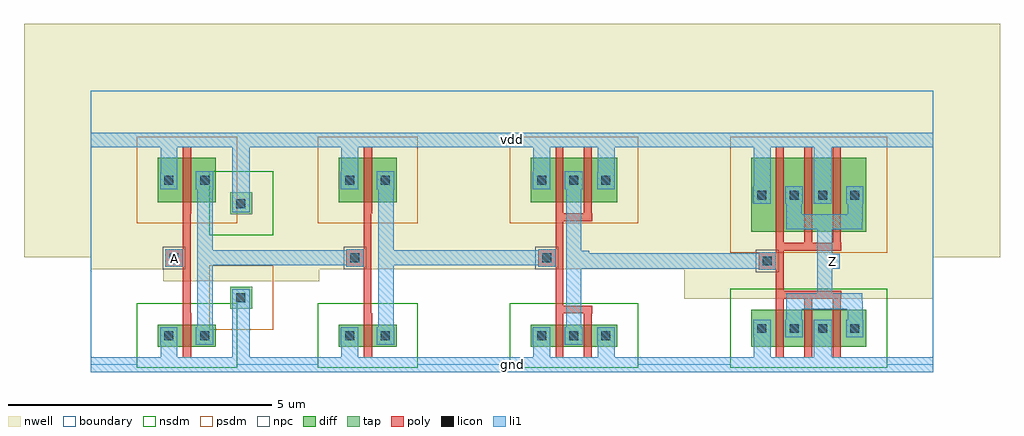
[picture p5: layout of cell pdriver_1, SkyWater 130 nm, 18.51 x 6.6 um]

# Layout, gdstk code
import gdstk
lib = gdstk.Library(unit=1e-6, precision=1e-09)
def R(c, l, rs):  # rectangles x0, y0, x1, y1
    for r in rs: c.add(gdstk.rectangle(r[:2], r[2:], *l))
def A(c, l, x, y, w, h, nx, ny, dx, dy):  # array of equal rectangles
    R(c, l, [(x+i*dx, y+j*dy, x+i*dx+w, y+j*dy+h) for i in range(nx) for j in range(ny)])
nwell = (64, 20)
diff = (65, 20)
tap = (65, 44)
poly = (66, 20)
licon = (66, 44)
li1 = (67, 20)
nsdm = (93, 44)
psdm = (94, 20)
npc = (95, 20)
boundary = (235, 4)

contact_10 = lib.new_cell('contact_10')
R(contact_10, nwell, [(-1.27,-1.27,1.69,1.69)])
R(contact_10, diff, [(0,0,0.42,0.42)])
R(contact_10, licon, [(0.12,0.12,0.29,0.29)])
R(contact_10, li1, [(0.04,0.04,0.37,0.37)])
R(contact_10, psdm, [(-0.4,-0.4,0.82,0.82)])
R(contact_10, boundary, [(-1.27,-1.27,1.69,1.69)])

pmos_m1_w0_840_sli_dli_d = lib.new_cell('pmos_m1_w0_840_sli_dli_da_p')
R(pmos_m1_w0_840_sli_dli_d, nwell, [(-1.27,-1.27,2.37,2.11)])
R(pmos_m1_w0_840_sli_dli_d, diff, [(0,0,1.1,0.84)])
R(pmos_m1_w0_840_sli_dli_d, poly, [(0.47,-0.21,0.62,1.05), (0.47,-0.21,0.63,1.05)])
R(pmos_m1_w0_840_sli_dli_d, li1, [(0.05,0.25,0.37,0.59), (0.73,0.25,1.05,0.59)])
R(pmos_m1_w0_840_sli_dli_d, psdm, [(-0.4,-0.4,1.5,1.24)])
R(pmos_m1_w0_840_sli_dli_d, boundary, [(-1.27,-1.27,2.37,2.11)])
pmos_m1_w0_840_sli_dli_d.add(gdstk.Reference(contact_10, (0,0.21)))
pmos_m1_w0_840_sli_dli_d.add(gdstk.Reference(contact_10, (0.68,0.21)))
pmos_m1_w0_840_sli_dli_d.add(gdstk.Label('G', (0.55,0.42), layer=66, texttype=20))
pmos_m1_w0_840_sli_dli_d.add(gdstk.Label('S', (0.21,0.42), layer=67, texttype=20))
pmos_m1_w0_840_sli_dli_d.add(gdstk.Label('D', (0.89,0.42), layer=67, texttype=20))

contact_9 = lib.new_cell('contact_9')
R(contact_9, diff, [(0,0,0.42,0.42)])
R(contact_9, licon, [(0.12,0.12,0.29,0.29)])
R(contact_9, li1, [(0.04,0.04,0.37,0.37)])
R(contact_9, nsdm, [(-0.4,-0.4,0.82,0.82)])
R(contact_9, boundary, [(-0.4,-0.4,0.82,0.82)])

nmos_m1_w0_420_sli_dli_d = lib.new_cell('nmos_m1_w0_420_sli_dli_da_p')
R(nmos_m1_w0_420_sli_dli_d, diff, [(0,0,1.1,0.42)])
R(nmos_m1_w0_420_sli_dli_d, poly, [(0.47,-0.21,0.62,0.63), (0.47,-0.21,0.63,0.63)])
R(nmos_m1_w0_420_sli_dli_d, li1, [(0.05,0.05,0.37,0.37), (0.73,0.05,1.05,0.37)])
R(nmos_m1_w0_420_sli_dli_d, nsdm, [(-0.4,-0.4,1.5,0.82)])
R(nmos_m1_w0_420_sli_dli_d, boundary, [(-0.4,-0.4,1.5,0.82)])
nmos_m1_w0_420_sli_dli_d.add(gdstk.Reference(contact_9, (0,0)))
nmos_m1_w0_420_sli_dli_d.add(gdstk.Reference(contact_9, (0.68,0)))
nmos_m1_w0_420_sli_dli_d.add(gdstk.Label('G', (0.55,0.21), layer=66, texttype=20))
nmos_m1_w0_420_sli_dli_d.add(gdstk.Label('S', (0.21,0.21), layer=67, texttype=20))
nmos_m1_w0_420_sli_dli_d.add(gdstk.Label('D', (0.89,0.21), layer=67, texttype=20))

contact_11 = lib.new_cell('contact_11')
R(contact_11, nwell, [(-1.27,-1.27,1.69,1.69)])
R(contact_11, tap, [(0,0,0.42,0.42)])
R(contact_11, licon, [(0.12,0.12,0.29,0.29)])
R(contact_11, li1, [(0.04,0.04,0.37,0.37)])
R(contact_11, nsdm, [(-0.4,-0.4,0.82,0.82)])
R(contact_11, boundary, [(-1.27,-1.27,1.69,1.69)])

contact_12 = lib.new_cell('contact_12')
R(contact_12, tap, [(0,0,0.42,0.42)])
R(contact_12, licon, [(0.12,0.12,0.29,0.29)])
R(contact_12, li1, [(0.04,0.04,0.37,0.37)])
R(contact_12, psdm, [(-0.4,-0.4,0.82,0.82)])
R(contact_12, boundary, [(-0.4,-0.4,0.82,0.82)])

contact_13 = lib.new_cell('contact_13')
R(contact_13, poly, [(0,0,0.33,0.33)])
R(contact_13, licon, [(0.08,0.08,0.25,0.25)])
R(contact_13, li1, [(0,0,0.33,0.33)])
R(contact_13, npc, [(-0.05,-0.05,0.38,0.38)])
R(contact_13, boundary, [(-0.05,-0.05,0.38,0.38)])

pinv_5 = lib.new_cell('pinv_5')
R(pinv_5, nwell, [(-1.27,2.04,4.7,6.46)])
R(pinv_5, poly, [(1.74,0.97,1.89,2.87), (1.58,1.86,1.74,2.19)])
R(pinv_5, li1, [(0,-0.14,3.43,0.14), (1.32,-0.14,1.64,0.39), (2.68,0,3.01,1.27), (2.02,0.39,2.31,3.67), (1.41,1.86,1.74,2.18), (2.16,1.88,2.45,2.16), (2.68,3.06,3.01,4.26), (1.32,3.33,1.64,4.4), (0,4.12,3.43,4.4)])
R(pinv_5, boundary, [(0,0,3.43,4.26), (0,0,3.43,4.26)])
pinv_5.add(gdstk.Reference(pmos_m1_w0_840_sli_dli_d, (1.27,3.08)))
pinv_5.add(gdstk.Reference(nmos_m1_w0_420_sli_dli_d, (1.27,0.34)))
pinv_5.add(gdstk.Reference(contact_11, (2.64,2.85)))
pinv_5.add(gdstk.Reference(contact_12, (2.64,1.06)))
pinv_5.add(gdstk.Reference(contact_13, (1.41,1.86)))
pinv_5.add(gdstk.Label('A', (1.575,2.02), layer=67, texttype=20))
pinv_5.add(gdstk.Label('Z', (2.305,2.02), layer=67, texttype=20))
pinv_5.add(gdstk.Label('gnd', (1.715,0), layer=67, texttype=20))
pinv_5.add(gdstk.Label('vdd', (1.715,4.26), layer=67, texttype=20))

pinv_8 = lib.new_cell('pinv_8')
R(pinv_8, nwell, [(-1.27,2.04,4.91,6.46)])
R(pinv_8, poly, [(1.74,0.97,1.89,2.87), (1.58,1.86,1.74,2.19)])
R(pinv_8, li1, [(0,-0.14,3.64,0.14), (1.32,-0.14,1.64,0.39), (2.02,0.39,2.31,3.67), (1.41,1.86,1.74,2.18), (2.16,1.88,2.45,2.16), (1.32,3.33,1.64,4.4), (0,4.12,3.64,4.4)])
R(pinv_8, boundary, [(0,0,3.64,4.26), (0,0,3.64,4.26)])
pinv_8.add(gdstk.Reference(pmos_m1_w0_840_sli_dli_d, (1.27,3.08)))
pinv_8.add(gdstk.Reference(nmos_m1_w0_420_sli_dli_d, (1.27,0.34)))
pinv_8.add(gdstk.Reference(contact_13, (1.41,1.86)))
pinv_8.add(gdstk.Label('A', (1.575,2.02), layer=67, texttype=20))
pinv_8.add(gdstk.Label('Z', (2.305,2.02), layer=67, texttype=20))
pinv_8.add(gdstk.Label('gnd', (1.82,0), layer=67, texttype=20))
pinv_8.add(gdstk.Label('vdd', (1.82,4.26), layer=67, texttype=20))

pmos_m2_w0_840_sli_dli_d = lib.new_cell('pmos_m2_w0_840_sli_dli_da_p')
R(pmos_m2_w0_840_sli_dli_d, nwell, [(-1.27,-1.27,2.91,2.11)])
R(pmos_m2_w0_840_sli_dli_d, diff, [(0,0,1.64,0.84)])
R(pmos_m2_w0_840_sli_dli_d, poly, [(0.47,-0.36,1.17,-0.21), (0.47,-0.21,0.62,1.05), (1.01,-0.21,1.16,1.05)])
R(pmos_m2_w0_840_sli_dli_d, li1, [(0.05,0.25,0.37,0.59), (0.65,0.25,0.99,0.59), (1.27,0.25,1.59,0.59)])
R(pmos_m2_w0_840_sli_dli_d, psdm, [(-0.4,-0.4,2.04,1.24)])
R(pmos_m2_w0_840_sli_dli_d, boundary, [(-1.27,-1.27,2.91,2.11)])
pmos_m2_w0_840_sli_dli_d.add(gdstk.Reference(contact_10, (0,0.21)))
pmos_m2_w0_840_sli_dli_d.add(gdstk.Reference(contact_10, (0.61,0.21)))
pmos_m2_w0_840_sli_dli_d.add(gdstk.Reference(contact_10, (1.22,0.21)))
pmos_m2_w0_840_sli_dli_d.add(gdstk.Label('G', (0.82,-0.285), layer=66, texttype=20))
pmos_m2_w0_840_sli_dli_d.add(gdstk.Label('S', (0.21,0.42), layer=67, texttype=20))
pmos_m2_w0_840_sli_dli_d.add(gdstk.Label('S', (1.43,0.42), layer=67, texttype=20))
pmos_m2_w0_840_sli_dli_d.add(gdstk.Label('D', (0.82,0.42), layer=67, texttype=20))

nmos_m2_w0_420_sli_dli_d = lib.new_cell('nmos_m2_w0_420_sli_dli_da_p')
R(nmos_m2_w0_420_sli_dli_d, diff, [(0,0,1.64,0.42)])
R(nmos_m2_w0_420_sli_dli_d, poly, [(0.47,-0.21,0.62,0.63), (1.01,-0.21,1.16,0.63), (0.47,0.63,1.17,0.78)])
R(nmos_m2_w0_420_sli_dli_d, li1, [(0.05,0.05,0.37,0.37), (0.65,0.05,0.99,0.37), (1.27,0.05,1.59,0.37)])
R(nmos_m2_w0_420_sli_dli_d, nsdm, [(-0.4,-0.4,2.04,0.82)])
R(nmos_m2_w0_420_sli_dli_d, boundary, [(-0.4,-0.4,2.04,0.82)])
nmos_m2_w0_420_sli_dli_d.add(gdstk.Reference(contact_9, (0,0)))
nmos_m2_w0_420_sli_dli_d.add(gdstk.Reference(contact_9, (0.61,0)))
nmos_m2_w0_420_sli_dli_d.add(gdstk.Reference(contact_9, (1.22,0)))
nmos_m2_w0_420_sli_dli_d.add(gdstk.Label('G', (0.82,0.705), layer=66, texttype=20))
nmos_m2_w0_420_sli_dli_d.add(gdstk.Label('S', (1.43,0.21), layer=67, texttype=20))
nmos_m2_w0_420_sli_dli_d.add(gdstk.Label('S', (0.21,0.21), layer=67, texttype=20))
nmos_m2_w0_420_sli_dli_d.add(gdstk.Label('D', (0.82,0.21), layer=67, texttype=20))

pinv_4 = lib.new_cell('pinv_4')
R(pinv_4, nwell, [(-1.27,2.04,5.45,6.46)])
R(pinv_4, poly, [(1.74,1.12,1.89,2.72), (1.58,1.86,1.74,2.19)])
R(pinv_4, li1, [(0,-0.14,4.18,0.14), (1.32,-0.14,1.64,0.39), (2.54,-0.14,2.86,0.39), (1.94,0.39,2.23,3.67), (1.41,1.86,1.74,2.18), (2.09,1.88,2.38,2.16), (1.32,3.33,1.64,4.4), (2.54,3.33,2.86,4.4), (0,4.12,4.18,4.4)])
R(pinv_4, boundary, [(0,0,4.18,4.26), (0,0,4.18,4.26)])
pinv_4.add(gdstk.Reference(pmos_m2_w0_840_sli_dli_d, (1.27,3.08)))
pinv_4.add(gdstk.Reference(nmos_m2_w0_420_sli_dli_d, (1.27,0.34)))
pinv_4.add(gdstk.Reference(contact_13, (1.41,1.86)))
pinv_4.add(gdstk.Label('A', (1.575,2.02), layer=67, texttype=20))
pinv_4.add(gdstk.Label('Z', (2.235,2.02), layer=67, texttype=20))
pinv_4.add(gdstk.Label('gnd', (2.09,0), layer=67, texttype=20))
pinv_4.add(gdstk.Label('vdd', (2.09,4.26), layer=67, texttype=20))

pmos_m3_w1_400_sli_dli_d = lib.new_cell('pmos_m3_w1_400_sli_dli_da_p')
R(pmos_m3_w1_400_sli_dli_d, nwell, [(-1.27,-1.27,3.45,2.67)])
R(pmos_m3_w1_400_sli_dli_d, diff, [(0,0,2.18,1.4)])
A(pmos_m3_w1_400_sli_dli_d, poly, 0.47, -0.21, 0.15, 1.82, 3, 1, 0.54, 0)
R(pmos_m3_w1_400_sli_dli_d, poly, [(0.47,-0.36,1.71,-0.21)])
R(pmos_m3_w1_400_sli_dli_d, li1, [(0.67,0.05,2.11,0.33), (0.67,0.19,0.96,0.7), (1.83,0.19,2.12,0.7), (0.05,0.53,0.37,0.87), (1.19,0.53,1.53,0.87)])
R(pmos_m3_w1_400_sli_dli_d, psdm, [(-0.4,-0.4,2.58,1.8)])
R(pmos_m3_w1_400_sli_dli_d, boundary, [(-1.27,-1.27,3.45,2.67)])
pmos_m3_w1_400_sli_dli_d.add(gdstk.Reference(contact_10, (0,0.49)))
pmos_m3_w1_400_sli_dli_d.add(gdstk.Reference(contact_10, (0.61,0.49)))
pmos_m3_w1_400_sli_dli_d.add(gdstk.Reference(contact_10, (1.15,0.49)))
pmos_m3_w1_400_sli_dli_d.add(gdstk.Reference(contact_10, (1.76,0.49)))
pmos_m3_w1_400_sli_dli_d.add(gdstk.Label('G', (1.09,-0.285), layer=66, texttype=20))
pmos_m3_w1_400_sli_dli_d.add(gdstk.Label('S', (1.36,0.7), layer=67, texttype=20))
pmos_m3_w1_400_sli_dli_d.add(gdstk.Label('S', (0.21,0.7), layer=67, texttype=20))
pmos_m3_w1_400_sli_dli_d.add(gdstk.Label('D', (1.39,0.19), layer=67, texttype=20))

nmos_m3_w0_700_sli_dli_d = lib.new_cell('nmos_m3_w0_700_sli_dli_da_p')
R(nmos_m3_w0_700_sli_dli_d, diff, [(0,0,2.18,0.7)])
A(nmos_m3_w0_700_sli_dli_d, poly, 0.47, -0.21, 0.15, 1.12, 3, 1, 0.54, 0)
R(nmos_m3_w0_700_sli_dli_d, poly, [(0.47,0.91,1.71,1.06)])
R(nmos_m3_w0_700_sli_dli_d, li1, [(0.05,0.19,0.37,0.51), (1.19,0.19,1.53,0.51), (0.67,0.35,0.96,0.86), (1.83,0.35,2.12,0.86), (0.67,0.71,2.11,1.01)])
R(nmos_m3_w0_700_sli_dli_d, nsdm, [(-0.4,-0.4,2.58,1.1)])
R(nmos_m3_w0_700_sli_dli_d, boundary, [(-0.4,-0.4,2.58,1.1)])
nmos_m3_w0_700_sli_dli_d.add(gdstk.Reference(contact_9, (0,0.14)))
nmos_m3_w0_700_sli_dli_d.add(gdstk.Reference(contact_9, (0.61,0.14)))
nmos_m3_w0_700_sli_dli_d.add(gdstk.Reference(contact_9, (1.15,0.14)))
nmos_m3_w0_700_sli_dli_d.add(gdstk.Reference(contact_9, (1.76,0.14)))
nmos_m3_w0_700_sli_dli_d.add(gdstk.Label('G', (1.09,0.985), layer=66, texttype=20))
nmos_m3_w0_700_sli_dli_d.add(gdstk.Label('S', (0.21,0.35), layer=67, texttype=20))
nmos_m3_w0_700_sli_dli_d.add(gdstk.Label('S', (1.36,0.35), layer=67, texttype=20))
nmos_m3_w0_700_sli_dli_d.add(gdstk.Label('D', (1.39,0.86), layer=67, texttype=20))

pinv_6 = lib.new_cell('pinv_6')
R(pinv_6, nwell, [(-1.27,2.04,5.99,6.46)])
R(pinv_6, poly, [(1.74,1.4,1.89,2.16), (1.58,1.8,1.74,2.13)])
R(pinv_6, li1, [(0,-0.14,4.72,0.14), (1.32,-0.14,1.64,0.53), (2.46,-0.14,2.8,0.53), (2.52,1.05,2.81,2.85), (1.41,1.8,1.74,2.12), (2.66,1.82,2.95,2.1), (1.32,3.05,1.64,4.4), (2.46,3.05,2.8,4.4), (0,4.12,4.72,4.4)])
R(pinv_6, boundary, [(0,0,4.72,4.26), (0,0,4.72,4.26)])
pinv_6.add(gdstk.Reference(pmos_m3_w1_400_sli_dli_d, (1.27,2.52)))
pinv_6.add(gdstk.Reference(nmos_m3_w0_700_sli_dli_d, (1.27,0.34)))
pinv_6.add(gdstk.Reference(contact_13, (1.41,1.8)))
pinv_6.add(gdstk.Label('A', (1.575,1.96), layer=67, texttype=20))
pinv_6.add(gdstk.Label('Z', (2.805,1.96), layer=67, texttype=20))
pinv_6.add(gdstk.Label('gnd', (2.36,0), layer=67, texttype=20))
pinv_6.add(gdstk.Label('vdd', (2.36,4.26), layer=67, texttype=20))

pdriver_1 = lib.new_cell('pdriver_1')
R(pdriver_1, nwell, [(-1.27,2.04,17.24,6.46)])
R(pdriver_1, li1, [(0,-0.14,15.97,0.14), (9.16,1.82,9.45,2.11), (9.3,1.82,12.82,2.11), (13.91,1.82,14.2,2.1), (1.41,1.86,1.74,2.18), (2.3,1.88,5,2.17), (5.74,1.88,8.64,2.17), (9.16,1.96,9.45,2.02), (0,4.12,15.97,4.4)])
R(pdriver_1, boundary, [(0,0,15.97,4.26), (0,0,15.97,4.26)])
pdriver_1.add(gdstk.Reference(pinv_5, (0,0)))
pdriver_1.add(gdstk.Reference(pinv_8, (3.43,0)))
pdriver_1.add(gdstk.Reference(pinv_4, (7.07,0)))
pdriver_1.add(gdstk.Reference(pinv_6, (11.25,0)))
pdriver_1.add(gdstk.Label('Z', (14.055,1.96), layer=67, texttype=20))
pdriver_1.add(gdstk.Label('A', (1.575,2.02), layer=67, texttype=20))
pdriver_1.add(gdstk.Label('gnd', (7.985,0), layer=67, texttype=20))
pdriver_1.add(gdstk.Label('vdd', (7.985,4.26), layer=67, texttype=20))

lib.write_gds('pdriver_1.gds')
